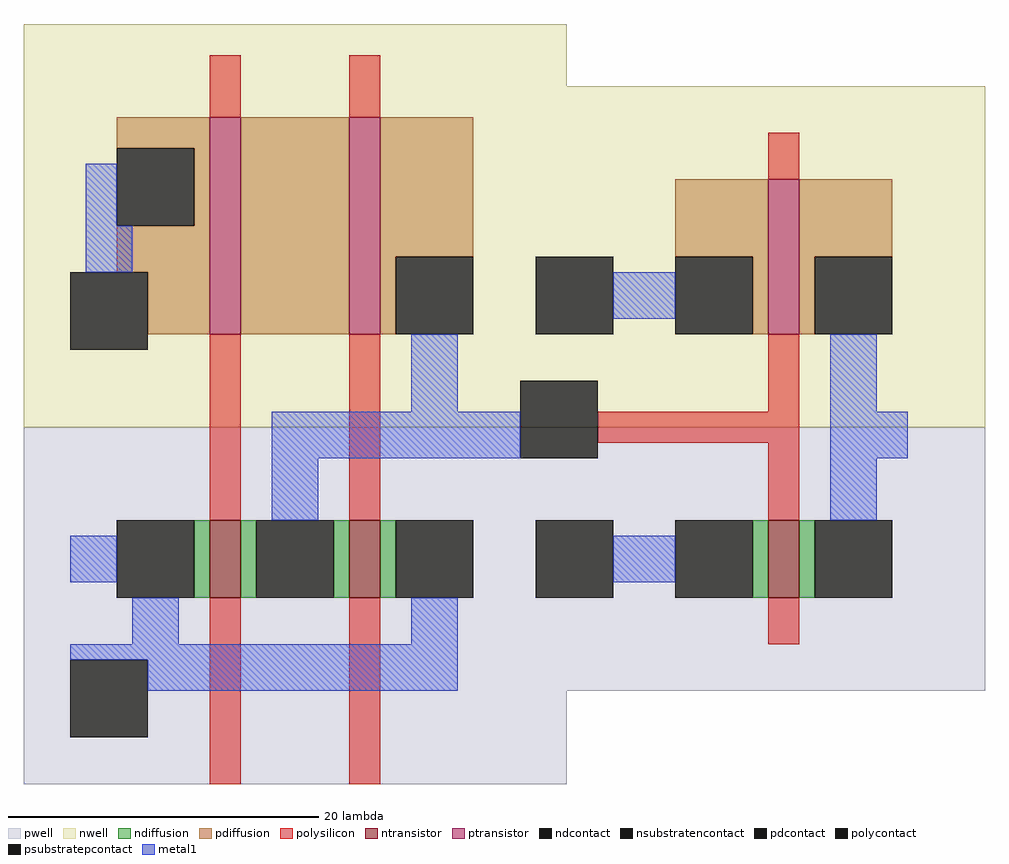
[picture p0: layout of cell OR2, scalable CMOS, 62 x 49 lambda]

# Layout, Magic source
magic
tech scmos
<< polysilicon >>
rect 37 22 50 24
<< polycontact >>
rect 32 21 37 26
<< metal1 >>
rect 25 21 32 24
rect 52 21 57 24
use inv  inv_0
transform 1 0 42 0 1 29
box -12 -23 20 16
use NOR2  NOR2_0
transform 1 0 15 0 1 39
box -15 -39 20 10
<< end >>

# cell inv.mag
magic
tech scmos
<< nwell >>
rect -12 -6 20 16
<< pwell >>
rect -12 -23 20 -6
<< ntransistor >>
rect 6 -17 8 -12
<< ptransistor >>
rect 6 0 8 10
<< ndiffusion >>
rect 5 -17 6 -12
rect 8 -17 9 -12
<< pdiffusion >>
rect 0 5 6 10
rect 5 0 6 5
rect 8 5 14 10
rect 8 0 9 5
<< ndcontact >>
rect 0 -17 5 -12
rect 9 -17 14 -12
<< pdcontact >>
rect 0 0 5 5
rect 9 0 14 5
<< psubstratepcontact >>
rect -9 -17 -4 -12
<< nsubstratencontact >>
rect -9 0 -4 5
<< polysilicon >>
rect 6 10 8 13
rect 6 -12 8 0
rect 6 -20 8 -17
<< metal1 >>
rect -4 1 0 4
rect 10 -12 13 0
rect -4 -16 0 -13
<< labels >>
rlabel metal1 -3 2 -2 3 1 Vdd!
rlabel metal1 -3 -15 -2 -14 1 GND!
<< end >>

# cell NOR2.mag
magic
tech scmos
<< nwell >>
rect -15 -16 20 10
<< pwell >>
rect -15 -39 20 -16
<< ntransistor >>
rect -3 -27 -1 -22
rect 6 -27 8 -22
<< ptransistor >>
rect -3 -10 -1 4
rect 6 -10 8 4
<< ndiffusion >>
rect -4 -27 -3 -22
rect -1 -27 0 -22
rect 5 -27 6 -22
rect 8 -27 9 -22
<< pdiffusion >>
rect -9 2 -3 4
rect -4 -3 -3 2
rect -9 -6 -3 -3
rect -7 -10 -3 -6
rect -1 -10 6 4
rect 8 -5 14 4
rect 8 -10 9 -5
<< ndcontact >>
rect -9 -27 -4 -22
rect 0 -27 5 -22
rect 9 -27 14 -22
<< pdcontact >>
rect -9 -3 -4 2
rect 9 -10 14 -5
<< psubstratepcontact >>
rect -12 -36 -7 -31
<< nsubstratencontact >>
rect -12 -11 -7 -6
<< polysilicon >>
rect -3 4 -1 8
rect 6 4 8 8
rect -3 -22 -1 -10
rect 6 -22 8 -10
rect -3 -39 -1 -27
rect 6 -39 8 -27
<< metal1 >>
rect -11 -3 -9 1
rect -11 -6 -8 -3
rect 10 -15 13 -10
rect 1 -18 13 -15
rect 1 -22 4 -18
rect -12 -26 -9 -23
rect -8 -30 -5 -27
rect 10 -30 13 -27
rect -12 -31 13 -30
rect -7 -33 13 -31
<< labels >>
rlabel metal1 -11 -6 -10 -3 1 Vdd!
rlabel metal1 -8 -30 -5 -28 1 GND!
<< end >>
